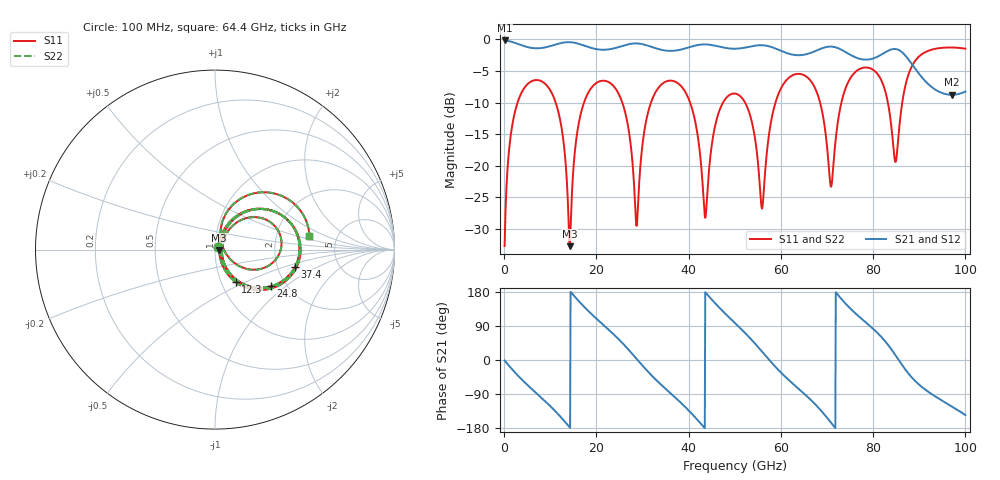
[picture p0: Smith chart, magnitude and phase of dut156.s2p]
! Touchstone file exported from HFSS 2026.1.0
!  File:  C:/ffzhzh/LocalFiles/Ansys_Project_Files/temp_train_TSV_RDL_156_1783646064_29156.aedt
!  Generated:  09:32:23 AM Jul 10, 2026
!  Design:  TSV_RDL
!  Project:  temp_train_TSV_RDL_156_1783646064_29156
! Variables:
!  h_bsmrdl = 3.65um
!  h_ox = 20um
!  h_rdl = 5um
!  h_sub = 69.25um
!  h_tmrdl = 3.95um
!  h_tsv = 69.25um
!  h_via = 3um
!  l_bsmrdl = 440.62um
!  l_sub = 4295.03um
!  l_tmrdl = 613.42um
!  m_sub = 200um
!  pitch = 41.67um
!  r_tsv = 8.14um
!  s_tmrdl = 10um
!  w_bsmrdl = 18.26um
!  w_sub = 500um
!  w_tmrdl = 21.57um
!  x_tsv_center1 = 624.205um
!  x_tsv_center2 = 1083.085um
!  x_tsv_center3 = 1718.075um
!  x_tsv_center4 = 2176.955um
!  x_tsv_center5 = 2811.945um
!  x_tsv_center6 = 3270.825um
# GHz S MA R 50.000000
! Terminal data exported
! Port[1] = TM_RDL1_1_T1
! Port[2] = TM_RDL5_1_T1
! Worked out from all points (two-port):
!   1000 points, 100 MHz to 100 GHz, reference 50 ohm
!   highest |S21| = -0.16 dB at 100 MHz (marker M1); lowest = -8.8 dB at 97 GHz (marker M2)
!   |S21| within 3 dB of the highest: start of sweep to 77.74 GHz; 79.11 GHz to 87.65 GHz (8.532 GHz wide, 10.2 % of centre)
!   lowest |S11| = -32.7 dB at 14.2 GHz (marker M3), VSWR 1.05, Z = 52.4 - j0.138 ohm
!   |S11| at or under -10 dB: 11.18 GHz to 17.31 GHz (6.134 GHz wide, 43.1 % of centre); 40.31 GHz to 47.45 GHz (7.132 GHz wide, 16.3 % of centre); 52.24 GHz to 58.82 GHz (6.586 GHz wide, 11.9 % of centre)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
!   |S22| runs from -32.8 to -1.3 dB; largest |S21 - S12| = 2.7e-14
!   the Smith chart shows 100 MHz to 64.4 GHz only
!   S11 on the Smith chart (normalised r, x): 100 MHz: 1.04, +0.03; 12.3 GHz: 1.17, -0.44; 24.8 GHz: 1.67, -0.79; 37.4 GHz: 2.51, -0.62; 64.4 GHz: 3.12, +0.64
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0.1  0.0232 35.0  0.9813 -1.5  0.9813 -1.5  0.0232 35.0
! Gamma 0 0 0 0
! Port Impedance 50 0 50 0
4  0.393 32.7  0.893 -53.7  0.893 -53.7  0.393 32.7
12.3  0.2149 -57.5  0.9355 -150.9  0.9355 -150.9  0.2149 -57.5
14.2  0.02315 -3.3  0.9511 -177.3  0.9511 -177.3  0.02301 -3.3
16.8  0.2745 51.4  0.9076 147.3  0.9076 147.3  0.2744 51.4
24.8  0.3729 -33.2  0.8698 55.2  0.8698 55.2  0.3729 -33.1
28.7  0.03349 -0.1  0.9292 3.2  0.9292 3.2  0.03401 0.1
33.4  0.4122 28.5  0.8399 -58.0  0.8399 -58.0  0.4123 28.4
37.4  0.457 -12.3  0.8187 -102.5  0.8187 -102.5  0.4571 -12.3
43.6  0.03884 -1.0  0.9136 178.8  0.9136 178.8  0.03927 -1.0
50.1  0.3727 6.1  0.8442 96.8  0.8442 96.8  0.3728 6.0
55.9  0.04582 19.4  0.8997 22.3  0.8997 22.3  0.04438 19.1
64.4  0.5312 8.0  0.7516 -82.0  0.7516 -82.0  0.5311 8.1
66.7  0.4574 -14.3  0.7883 -107.7  0.7883 -107.7  0.4573 -14.2
70.8  0.069 5.3  0.8777 -164.4  0.8777 -164.4  0.07007 5.4
72.3  0.2164 64.2  0.855 172.8  0.855 172.8  0.2168 63.9
78.5  0.5997 7.9  0.6918 98.2  0.6918 98.2  0.5997 7.8
83.4  0.2872 -35.8  0.8185 37.3  0.8185 37.3  0.2867 -36.1
84.9  0.1077 14.5  0.8396 11.4  0.8396 11.4  0.106 14.5
88.3  0.6031 35.4  0.6449 -45.0  0.6449 -45.0  0.6029 35.6
97  0.8633 -32.7  0.3648 -122.1  0.3648 -122.1  0.8632 -32.7
100  0.8445 -54.0  0.3864 -145.4  0.3864 -145.4  0.8444 -53.9
